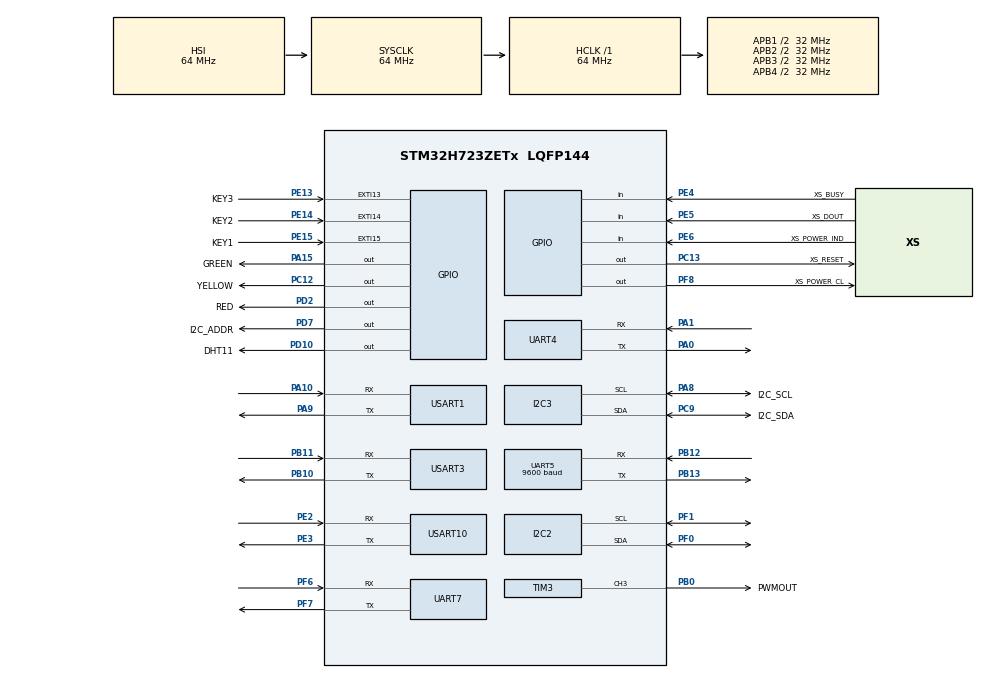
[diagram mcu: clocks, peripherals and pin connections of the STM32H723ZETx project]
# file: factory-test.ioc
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I2C2.Timing=0x00707CBB
I2C3.Timing=0x00707CBB
Mcu.Family=STM32H7
Mcu.Name=STM32H723ZETx
Mcu.Package=LQFP144
NVIC.EXTI15_10_IRQn=true\:1\:0\:true\:false\:true\:true\:true
NVIC.PriorityGroup=NVIC_PRIORITYGROUP_4
NVIC.TIM2_IRQn=true\:0\:0\:false\:false\:true\:true\:true
NVIC.UART4_IRQn=true\:0\:0\:false\:false\:true\:true\:true
NVIC.UART5_IRQn=true\:0\:0\:false\:false\:true\:true\:true
NVIC.UART7_IRQn=true\:0\:0\:false\:false\:true\:true\:true
NVIC.USART10_IRQn=true\:1\:0\:true\:false\:true\:true\:true
NVIC.USART1_IRQn=true\:0\:0\:false\:false\:true\:true\:true
NVIC.USART3_IRQn=true\:2\:0\:true\:false\:true\:true\:true
PA0.Mode=Asynchronous
PA0.Signal=UART4_TX
PA1.Mode=Asynchronous
PA1.Signal=UART4_RX
PA10.Mode=Asynchronous
PA10.Signal=USART1_RX
PA15(JTDI).GPIO_Label=GREEN
PA15(JTDI).Signal=GPIO_Output
PA8.GPIO_Label=I2C_SCL
PA8.Mode=I2C
PA8.Signal=I2C3_SCL
PA9.Mode=Asynchronous
PA9.Signal=USART1_TX
PB0.GPIO_Label=PWMOUT
PB0.Signal=S_TIM3_CH3
PB10.Mode=Asynchronous
PB10.Signal=USART3_TX
PB11.Mode=Asynchronous
PB11.Signal=USART3_RX
PB12.Mode=Asynchronous
PB12.Signal=UART5_RX
PB13.Mode=Asynchronous
PB13.Signal=UART5_TX
PC12.GPIO_Label=YELLOW
PC12.Signal=GPIO_Output
PC13.GPIO_Label=XS_RESET
PC13.Signal=GPIO_Output
PC9.GPIO_Label=I2C_SDA
PC9.Mode=I2C
PC9.Signal=I2C3_SDA
PD10.GPIO_Label=DHT11
PD10.GPIO_Speed=GPIO_SPEED_FREQ_HIGH
PD10.PinState=GPIO_PIN_SET
PD10.Signal=GPIO_Output
PD2.GPIO_Label=RED
PD2.Signal=GPIO_Output
PD7.GPIO_Label=I2C_ADDR
PD7.GPIO_Speed=GPIO_SPEED_FREQ_HIGH
PD7.Signal=GPIO_Output
PE13.GPIO_Label=KEY3
PE13.GPIO_ModeDefaultEXTI=GPIO_MODE_IT_FALLING
PE13.Signal=GPXTI13
PE14.GPIO_Label=KEY2
PE14.GPIO_ModeDefaultEXTI=GPIO_MODE_IT_FALLING
PE14.Signal=GPXTI14
PE15.GPIO_Label=KEY1
PE15.GPIO_ModeDefaultEXTI=GPIO_MODE_IT_FALLING
PE15.Signal=GPXTI15
PE2.Mode=Asynchronous
PE2.Signal=USART10_RX
PE3.Mode=Asynchronous
PE3.Signal=USART10_TX
PE4.GPIO_Label=XS_BUSY
PE4.Signal=GPIO_Input
PE5.GPIO_Label=XS_DOUT
PE5.Signal=GPIO_Input
PE6.GPIO_Label=XS_POWER_IND
PE6.Signal=GPIO_Input
PF0.Mode=I2C
PF0.Signal=I2C2_SDA
PF1.Mode=I2C
PF1.Signal=I2C2_SCL
PF6.Mode=Asynchronous
PF6.Signal=UART7_RX
PF7.Mode=Asynchronous
PF7.Signal=UART7_TX
PF8.GPIO_Label=XS_POWER_CL
PF8.Signal=GPIO_Output
ProjectManager.HeapSize=0x8000
ProjectManager.StackSize=0x8000
ProjectManager.TargetToolchain=MDK-ARM V5.32
RCC.ADCFreq_Value=129000000
RCC.APB1Freq_Value=32000000
RCC.APB2Freq_Value=32000000
RCC.APB3Freq_Value=32000000
RCC.APB4Freq_Value=32000000
RCC.CortexFreq_Value=64000000
RCC.D1PPRE=RCC_APB3_DIV2
RCC.D2PPRE1=RCC_APB1_DIV2
RCC.D2PPRE2=RCC_APB2_DIV2
RCC.D3PPRE=RCC_APB4_DIV2
RCC.DIVQ1=8
RCC.HCLKFreq_Value=64000000
RCC.SYSCLKFreq_VALUE=64000000
RCC.USBFreq_Value=32250000
SH.S_TIM3_CH3.0=TIM3_CH3,PWM Generation3 CH3
TIM1.Period=65535
TIM1.Prescaler=64-1
TIM2.AutoReloadPreload=TIM_AUTORELOAD_PRELOAD_ENABLE
TIM2.Period=9999
TIM2.Prescaler=6399
TIM3.Channel-PWM\ Generation3\ CH3=TIM_CHANNEL_3
TIM3.Period=100-1
TIM3.Prescaler=64-1
TIM3.Pulse-PWM\ Generation3\ CH3=50
UART5.BaudRate=9600
USART1.VirtualMode-Asynchronous=VM_ASYNC
USART10.VirtualMode-Asynchronous=VM_ASYNC
USART3.VirtualMode-Asynchronous=VM_ASYNC
VP_TIM1_VS_ClockSourceINT.Mode=Internal
VP_TIM2_VS_ClockSourceINT.Mode=Internal
board=custom

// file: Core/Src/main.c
/* USER CODE BEGIN Header */
/**
 ******************************************************************************
 * @file           : main.c
 * @brief          : Main program body
 ******************************************************************************
 * @attention
 *
 * Copyright (c) 2024 STMicroelectronics.
 * All rights reserved.
 *
 * This software is licensed under terms that can be found in the LICENSE file
 * in the root directory of this software component.
 * If no LICENSE file comes with this software, it is provided AS-IS.
 *
 ******************************************************************************
 */
/* USER CODE END Header */
#include "main.h"
#include "i2c.h"
#include "tim.h"
#include "usart.h"
#include "gpio.h"

/* USER CODE BEGIN Includes */
#include <stdbool.h>
#include "csb.h"
#include "usr_uart.h"
#include "console.h"
#include "lcd.h"
#include "BH1750.h"
#include "bmp280.h"
#include "SCD04.h"
#include "DHT11.h"
#include "EB21.h"
#include "gnss.h"
/* USER CODE END Includes */

/* USER CODE BEGIN PV */
// static uint32_t collect_tick = 0;
/* USER CODE END PV */

void SystemClock_Config(void);
/* USER CODE BEGIN PFP */
bool key_1_touch = false;
bool key_2_touch = false; // KEY2 按下时的事件标志，在中断里置 true
bool key_3_touch = false;
bool fs_status = false;
bool lcd_status = false;
int now_page = 0; // LCD 当前显示页面索引

#define BH1750_TIMER_PERIOD 3
#define DHT11_TIMER_PERIOD 10
#define SCD04_TIMER_PERIOD 5
#define RFID_TIMER_PERIOD 2
#define CO2_READ_TIMER_PERIOD 1
static int bh1750_count_timer = BH1750_TIMER_PERIOD;
static int dht11_count_timer = DHT11_TIMER_PERIOD;
static int scd04_count_timer = SCD04_TIMER_PERIOD;
static int rfid_count_timer = RFID_TIMER_PERIOD;

enum
{
    COLLECT = 0,
    READ = 1,
};

static int co2_status = COLLECT;
/* USER CODE END PFP */

/* USER CODE BEGIN 0 */
void HAL_TIM_PeriodElapsedCallback(TIM_HandleTypeDef *htim)
{
    unsigned int retry = 0;
    if (htim == &htim2)
    {
        bh1750_count_timer--;
        dht11_count_timer--;
        scd04_count_timer--;
        rfid_count_timer--;
    }
}

void HAL_UART_RxCpltCallback(UART_HandleTypeDef *huart)
{
    if (huart == &huart1) // 控制台
    {
        queue_in((char *)&dataRcvd);
        HAL_UART_Receive_IT(&huart1, &dataRcvd, 1);
        return;
    }

    if (huart == &huart3) // LCD
    {
        lcd_buffer[lcd_count++] = lcd_temp;
        if (lcd_count == LCD_REPLAY_LEN)
        {
            lcd_check_frame(); // 查看LCD是否准备就绪
        }
        HAL_UART_Receive_IT(&huart3, &lcd_temp, 1);
        return;
    }

    if (huart == &huart4)
    {
        if (gnss_temp == 0x24)
        {
            gnss_frame_ready = true;
        }

        if (gnss_frame_ready)
        {
            gnss_buffer[gnss_count++] = gnss_temp;
            if (gnss_count == GNSS_DATA_HEAD_LEN)
            {
                if (!gnss_check_frame())
                {
                    gnss_count = 0;
                    gnss_frame_ready = false;
                }
            }
            else if (gnss_temp == 0x0D)
            {
                gnss_deal_buffer();
            }
        }

        HAL_UART_Receive_IT(&huart4, &gnss_temp, 1);
        return;
    }

    if (huart == &huart5)
    {
        if (csb_temp == 0xFF)
        {
            csb_frame_ready = true;
        }

        if (csb_frame_ready)
        {
            csb_buffer[csb_count++] = csb_temp;
            if (csb_count == CSB_FRAME_LEN)
            {
                csb_deal_buffer();
            }
        }

        HAL_UART_Receive_IT(&huart5, &csb_temp, 1);
        return;
    }

    if (huart == &huart7)
    {
        xs_buffer[xs_count++] = xs_temp;
        HAL_UART_Receive_IT(&huart7, &xs_temp, 1);
        return;
    }

    if (huart == &huart10)
    {
        if (bmp280_temp == 0x50)
        {
            bmp280_frame_ready = true;
        }

        if (bmp280_frame_ready)
        {
            bmp280_buffer[bmp280_count++] = bmp280_temp;
            if (bmp280_temp == 0x0D)
            {
                bmp280_deal_buffer();
            }
        }

        HAL_UART_Receive_IT(&huart10, &bmp280_temp, 1);
        return;
    }
}

void HAL_GPIO_EXTI_Callback(uint16_t GPIO_Pin)
{
    static uint32_t key3_tick = 0;
    static bool touch_3 = true;
    switch (GPIO_Pin)
    {
    case KEY3_Pin:
        if (HAL_GPIO_ReadPin(KEY3_GPIO_Port, KEY3_Pin) == GPIO_PIN_RESET)
        {
            // KEY3 松开逻辑,上升沿触
            key_3_touch = true;
            if (touch_3)
            {
                HAL_GPIO_WritePin(YELLOW_GPIO_Port, YELLOW_Pin, GPIO_PIN_SET);
                HAL_GPIO_WritePin(GREEN_GPIO_Port, GREEN_Pin, GPIO_PIN_SET);
                HAL_GPIO_WritePin(RED_GPIO_Port, RED_Pin, GPIO_PIN_SET);
                __HAL_TIM_SET_COMPARE(&htim3, TIM_CHANNEL_3, 99);
                fs_status = true;
                lcd_status = true;
            }
            else
            {
                HAL_GPIO_WritePin(YELLOW_GPIO_Port, YELLOW_Pin, GPIO_PIN_RESET);
                HAL_GPIO_WritePin(GREEN_GPIO_Port, GREEN_Pin, GPIO_PIN_RESET);
                HAL_GPIO_WritePin(RED_GPIO_Port, RED_Pin, GPIO_PIN_RESET);
                __HAL_TIM_SET_COMPARE(&htim3, TIM_CHANNEL_3, 0);
                fs_status = false;
                lcd_status = false;
            }
            touch_3 = !touch_3;
        }
        break;
    case KEY2_Pin:
        // 读取引脚确认是�?�按下�??(低电�????)，消抖并确认硬件状�??
        if (HAL_GPIO_ReadPin(KEY2_GPIO_Port, KEY2_Pin) == GPIO_PIN_RESET)
        {
            // KEY2 按下逻辑：仅置事件标志，真正的页面切换在 key_function() 中执�????
            key_2_touch = true;
        }
        break;
    case KEY1_Pin:
        // 读取引脚确认是�?�按下�??(低电�????)，消抖并确认硬件状�??
        if (HAL_GPIO_ReadPin(KEY1_GPIO_Port, KEY1_Pin) == GPIO_PIN_RESET)
        {
            // KEY1 按下逻辑：仅置事件标志，真正的页面切换在 key_function() 中执�????
            key_1_touch = true;
        }
        break;
    }
}

void lcd_set_page0(void)
{
    char temp[256] = {0};
    // 终端协议：SET_TXT(行号,'内容');  显示温湿度与光照
    // sprintf(temp, "SET_TXT(4,'10.5\xA1\xE3\x43');SET_TXT(5,'10.6RH');SET_TXT(6,'888lx');\r\n");
    sprintf(temp, "SET_TXT(4,'%.1f\xA1\xE3\x43');SET_TXT(5,'%.1fRH');SET_TXT(6,'%dlx');\r\n", tem, hum, lx_Data);
    lcd_set_data(temp); // 通过 USART3 下发本页文本
}

void lcd_set_page1(void)
{
    char temp[256] = {0};
    sprintf(temp, "SET_TXT(4,'%s');SET_TXT(5,'%s');SET_TXT(6,'%ldPa');SET_TXT(7,'%ldPPM');\r\n",
            lcd_status > 0 ? "open" : "close",
            fs_status > 0 ? "open" : "close",
            pressure_Data,
            data_co2);
    lcd_set_data(temp);
}

void key_function(void)
{
    const int PAGE_COUNT = 2; /* 页面总数，用于循环切�???? */

    /* KEY1 处理：切换到上一�???? */
    if (key_1_touch)
    {
        int target = (now_page - 1 + PAGE_COUNT) % PAGE_COUNT; /* 计算目标页面（循环） */
        lcd_switch(target);
        if (target)
        {
            lcd_set_page1();
            now_page = 1;
        }
        else
        {
            lcd_set_page0();
            now_page = 0;
        }
        key_1_touch = false; /* 清除标志 */
    }

    /* KEY2 处理：切换到下一�???? */
    if (key_2_touch)
    {
        int target = (now_page + 1) % PAGE_COUNT; /* 计算目标页面（循环） */
        lcd_switch(target);
        if (target)
        {
            lcd_set_page1();
            now_page = 1;
        }
        else
        {
            lcd_set_page0();
            now_page = 0;
        }
        key_2_touch = false; /* 清除标志 */
    }
}

static void timer_collect_data(void)
{
    if (dht11_count_timer < 0)
    {
        HAL_TIM_Base_Stop_IT(&htim2);
        DHT11_Data(&tem, &hum);
        dht11_count_timer = DHT11_TIMER_PERIOD;
        goto end;
    }

    if (scd04_count_timer < 0)
    {
        HAL_TIM_Base_Stop_IT(&htim2);
        if (co2_status == COLLECT)
        {
            scd04_collect();
            scd04_count_timer = SCD04_TIMER_PERIOD;
            co2_status = READ;
        }
        else
        {
            co2_status = COLLECT;
            scd04_read_data();
            scd04_count_timer = CO2_READ_TIMER_PERIOD;
        }

        goto end;
    }

    if (bh1750_count_timer < 0)
    {
        HAL_TIM_Base_Stop_IT(&htim2);
        bh1750_count_timer = BH1750_TIMER_PERIOD;
        bh1750_get_data();

        goto end;
    }

    return;

end:
    if (now_page)
    {
        lcd_set_page1();
    }
    else
    {
        lcd_set_page0();
    }
    HAL_TIM_Base_Start_IT(&htim2);
}

static void get_sensor_data(void)
{
    // 先采集二氧化碳，这个传感器有延时，这样其他传感器有一个初始化的时�?????
    HAL_Delay(3000);
    scd04_get_Data();
    DHT11_Data(&tem, &hum);
    bh1750_get_data();
}
/* USER CODE END 0 */

int main(void)
{

    /* MCU Configuration--------------------------------------------------------*/

    /* Reset of all peripherals, Initializes the Flash interface and the Systick. */
    HAL_Init();

    /* Configure the system clock */
    SystemClock_Config();

    /* Initialize all configured peripherals */
    MX_GPIO_Init();
    MX_TIM1_Init();
    MX_USART1_UART_Init();
    MX_USART3_UART_Init();
    MX_I2C3_Init();
    MX_USART10_UART_Init();
    MX_I2C2_Init();
    MX_TIM3_Init();
    MX_UART4_Init();
    MX_UART5_Init();
    MX_UART7_Init();
    MX_TIM2_Init();
    /* USER CODE BEGIN 2 */
    HAL_TIM_PWM_Start(&htim3, TIM_CHANNEL_3);
    __HAL_TIM_SET_COMPARE(&htim3, TIM_CHANNEL_3, 0);
    SCD04_INIT();
    BH1750_INIT();

    HAL_UART_Receive_IT(&huart1, &dataRcvd, 1);
    HAL_UART_Receive_IT(&huart3, &lcd_temp, 1);
    HAL_UART_Receive_IT(&huart4, &gnss_temp, 1);
    HAL_UART_Receive_IT(&huart5, &csb_temp, 1);
    HAL_UART_Receive_IT(&huart7, &xs_temp, 1);
    HAL_UART_Receive_IT(&huart10, &bmp280_temp, 1);
    HAL_TIM_Base_Start_IT(&htim2);

    console_init();

    BH1750_cmd_register();
    bmp280_cmd_register();
    csb_cmd_register();
    dht11_cmd_register();
    xs_cmd_register();
    gnss_cmd_register();
    lcd_cmd_register();
    SCD04_cmd_register();

    get_sensor_data();
    lcd_set_page0();
    /* USER CODE END 2 */

    /* Infinite loop */
    /* USER CODE BEGIN WHILE */
    while (1)
    {
        console_run();
        key_function();
        timer_collect_data();
    }
    /* USER CODE END WHILE */

}

void SystemClock_Config(void)
{
    RCC_OscInitTypeDef RCC_OscInitStruct = {0};
    RCC_ClkInitTypeDef RCC_ClkInitStruct = {0};

    /** Supply configuration update enable
     */
    HAL_PWREx_ConfigSupply(PWR_LDO_SUPPLY);
    /** Configure the main internal regulator output voltage
     */
    __HAL_PWR_VOLTAGESCALING_CONFIG(PWR_REGULATOR_VOLTAGE_SCALE3);

    while (!__HAL_PWR_GET_FLAG(PWR_FLAG_VOSRDY))
    {
    }
    /** Initializes the RCC Oscillators according to the specified parameters
     * in the RCC_OscInitTypeDef structure.
     */
    RCC_OscInitStruct.OscillatorType = RCC_OSCILLATORTYPE_HSI;
    RCC_OscInitStruct.HSIState = RCC_HSI_DIV1;
    RCC_OscInitStruct.HSICalibrationValue = RCC_HSICALIBRATION_DEFAULT;
    RCC_OscInitStruct.PLL.PLLState = RCC_PLL_NONE;
    if (HAL_RCC_OscConfig(&RCC_OscInitStruct) != HAL_OK)
    {
        Error_Handler();
    }
    /** Initializes the CPU, AHB and APB buses clocks
     */
    RCC_ClkInitStruct.ClockType = RCC_CLOCKTYPE_HCLK | RCC_CLOCKTYPE_SYSCLK | RCC_CLOCKTYPE_PCLK1 | RCC_CLOCKTYPE_PCLK2 | RCC_CLOCKTYPE_D3PCLK1 | RCC_CLOCKTYPE_D1PCLK1;
    RCC_ClkInitStruct.SYSCLKSource = RCC_SYSCLKSOURCE_HSI;
    RCC_ClkInitStruct.SYSCLKDivider = RCC_SYSCLK_DIV1;
    RCC_ClkInitStruct.AHBCLKDivider = RCC_HCLK_DIV1;
    RCC_ClkInitStruct.APB3CLKDivider = RCC_APB3_DIV2;
    RCC_ClkInitStruct.APB1CLKDivider = RCC_APB1_DIV2;
    RCC_ClkInitStruct.APB2CLKDivider = RCC_APB2_DIV2;
    RCC_ClkInitStruct.APB4CLKDivider = RCC_APB4_DIV2;

    if (HAL_RCC_ClockConfig(&RCC_ClkInitStruct, FLASH_LATENCY_1) != HAL_OK)
    {
        Error_Handler();
    }
}

void Error_Handler(void)
{
    __disable_irq();
    while (1)
    {
    }
}
